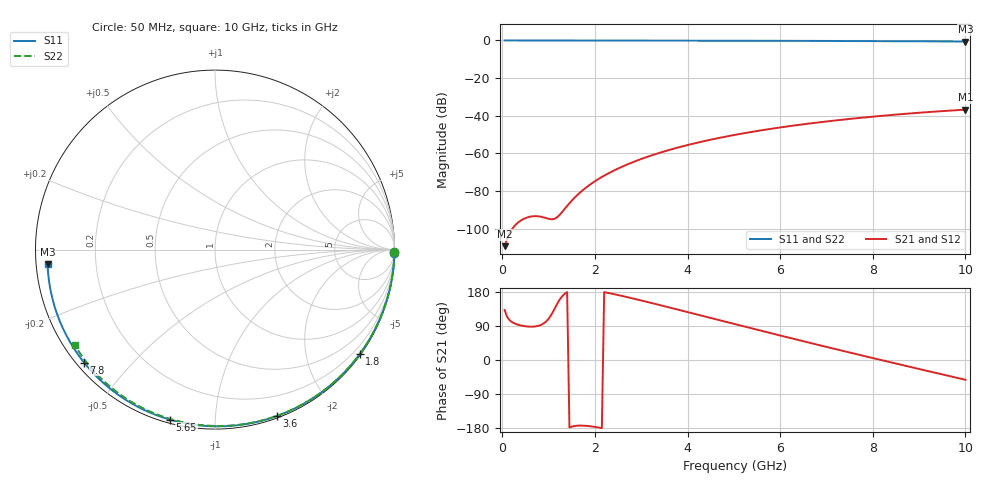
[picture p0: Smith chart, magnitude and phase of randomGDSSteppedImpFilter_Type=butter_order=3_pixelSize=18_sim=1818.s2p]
! freq	dB(S11)	phase(S11)	dB(S12)	phase(S12)
!  dB(S21)	phase(S21)	dB(S22)	phase(S22)
!S-par simulation data
#  GHz  S  DB  R 50
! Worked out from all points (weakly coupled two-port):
!   200 points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, 50 MHz to 10 GHz, reference 50 ohm
!   highest |S21| = -36.76 dB at 10 GHz (marker M1); lowest = -109.3 dB at 50 MHz (marker M2)
!   lowest |S11| = -0.6 dB at 10 GHz (marker M3), VSWR 30.39, Z = 1.65 - j2.16 ohm
!   |S11| at or under -10 dB: nowhere
!   |S22| runs from -0.5 to 0.0 dB; largest |S21 - S12| = 0
!   S11 on the Smith chart (normalised r, x): 50 MHz: open; 1.8 GHz: 0.03, -3.09; 3.6 GHz: 0.02, -1.44; 5.65 GHz: 0.02, -0.77; 7.8 GHz: 0.02, -0.37; 10 GHz: 0.03, -0.04
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0.05  -0.00 -1.0  -109.27 131.9  -109.27 131.9  -0.00 -0.8
0.45  -0.01 -9.1  -94.92 89.9  -94.92 89.9  -0.01 -7.6
0.85  -0.02 -17.2  -93.71 93.5  -93.71 93.5  -0.02 -14.3
1.25  -0.03 -25.1  -92.35 161.3  -92.35 161.3  -0.03 -20.9
1.7  -0.04 -33.9  -80.33 -173.1  -80.33 -173.1  -0.04 -28.3
1.75  -0.04 -34.9  -79.29 -173.3  -79.29 -173.3  -0.04 -29.1
1.8  -0.05 -35.9  -78.31 -173.6  -78.31 -173.6  -0.04 -29.9
2.1  -0.05 -41.7  -73.25 -178.6  -73.25 -178.6  -0.04 -34.8
2.3  -0.06 -45.5  -70.47 176.7  -70.47 176.7  -0.05 -38.0
2.5  -0.06 -49.3  -68.03 171.5  -68.03 171.5  -0.05 -41.2
2.9  -0.07 -56.8  -63.88 160.1  -63.88 160.1  -0.06 -47.5
3.4  -0.09 -66.0  -59.66 145.0  -59.66 145.0  -0.07 -55.3
3.6  -0.09 -69.6  -58.19 138.9  -58.19 138.9  -0.08 -58.3
4.3  -0.12 -82.0  -53.80 117.2  -53.80 117.2  -0.10 -68.9
5.05  -0.15 -94.8  -50.02 93.9  -50.02 93.9  -0.12 -79.8
5.65  -0.17 -104.8  -47.51 75.4  -47.51 75.4  -0.15 -88.3
6.15  -0.20 -112.9  -45.69 60.1  -45.69 60.1  -0.17 -95.2
6.7  -0.24 -121.7  -43.91 43.5  -43.91 43.5  -0.20 -102.7
7.8  -0.32 -139.2  -40.95 10.9  -40.95 10.9  -0.27 -117.2
8.35  -0.38 -148.0  -39.70 -5.0  -39.70 -5.0  -0.32 -124.4
9.2  -0.47 -161.7  -38.04 -29.5  -38.04 -29.5  -0.40 -135.3
10  -0.57 -175.0  -36.76 -52.2  -36.76 -52.2  -0.49 -145.7
